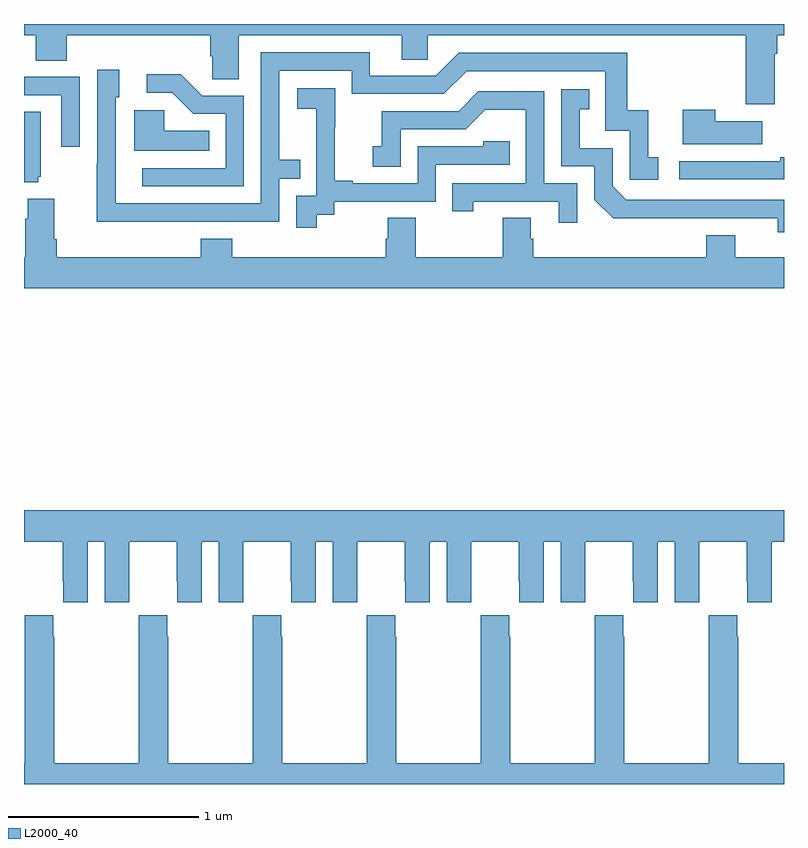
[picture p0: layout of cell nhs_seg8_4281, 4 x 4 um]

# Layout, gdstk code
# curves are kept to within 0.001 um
import gdstk
lib = gdstk.Library(unit=1e-6, precision=1e-09)
def P(c, l, *ps):  # polygons
    for p in ps: c.add(gdstk.Polygon(p, *l))
L2000_40 = (2000, 40)

nhs_seg8_4281 = lib.new_cell('nhs_seg8_4281')
P(nhs_seg8_4281, L2000_40, [(376.951,1109.744),(376.964,1109.744),(376.964,1109.84),(377,1109.84),(377,1109.9),(373,1109.9),(373,1109.84),(373.061,1109.84),(373.061,1109.707),(373.226,1109.707),(373.226,1109.84),(373.979,1109.84),(373.979,1109.731),(373.992,1109.731),(373.992,1109.608),(374.131,1109.608),(374.131,1109.84),(374.987,1109.84),(374.987,1109.713),(375.126,1109.713),(375.126,1109.84),(376.799,1109.84),(376.799,1109.478),(376.951,1109.478)],
  [(373.847,1108.86),(374.343,1108.86),(374.343,1109.085),(374.453,1109.085),(374.453,1109.186),(374.343,1109.186),(374.343,1109.655),(374.724,1109.655),(374.724,1109.532),(375.21,1109.532),(375.33,1109.652),(376.059,1109.652),(376.059,1109.337),(376.188,1109.337),(376.188,1109.079),(376.339,1109.079),(376.339,1109.199),(376.286,1109.199),(376.286,1109.446),(376.175,1109.446),(376.175,1109.748),(375.288,1109.748),(375.168,1109.628),(374.821,1109.628),(374.821,1109.751),(374.247,1109.751),(374.247,1108.956),(373.483,1108.956),(373.482,1109.514),(373.501,1109.514),(373.501,1109.659),(373.386,1109.659),(373.386,1109.165),(373.384,1109.165),(373.384,1108.859)],
  [(374.157,1109.523),(373.938,1109.523),(373.825,1109.636),(373.647,1109.636),(373.647,1109.538),(373.781,1109.538),(373.892,1109.427),(374.061,1109.427),(374.061,1109.142),(373.623,1109.142),(373.623,1109.046),(374.157,1109.046)],
  [(373.293,1109.622),(373,1109.622),(373,1109.526),(373.197,1109.526),(373.197,1109.253),(373.293,1109.253)],
  [(374.542,1108.897),(374.634,1108.897),(374.634,1108.965),(375.168,1108.965),(375.168,1109.16),(375.557,1109.16),(375.557,1109.283),(375.417,1109.283),(375.417,1109.256),(375.072,1109.256),(375.072,1109.061),(374.731,1109.061),(374.731,1109.074),(374.636,1109.074),(374.636,1109.357),(374.637,1109.357),(374.637,1109.563),(374.439,1109.563),(374.439,1109.453),(374.537,1109.453),(374.537,1109.225),(374.538,1109.225),(374.538,1108.995),(374.433,1108.995),(374.433,1108.827),(374.542,1108.827)],
  [(377,1108.974),(376.17,1108.974),(376.098,1109.046),(376.098,1109.247),(375.925,1109.247),(375.925,1109.451),(375.974,1109.451),(375.974,1109.557),(375.828,1109.557),(375.828,1109.151),(376.002,1109.151),(376.002,1108.974),(376.1,1108.877),(376.968,1108.878),(376.968,1108.805),(377,1108.805)],
  [(375.912,1109.061),(375.738,1109.061),(375.738,1109.547),(375.392,1109.547),(375.287,1109.442),(374.884,1109.442),(374.884,1109.257),(374.835,1109.257),(374.835,1109.148),(374.982,1109.148),(374.982,1109.346),(375.324,1109.346),(375.428,1109.45),(375.642,1109.45),(375.642,1109.061),(375.253,1109.061),(375.253,1108.914),(375.364,1108.914),(375.364,1108.965),(375.815,1108.965),(375.815,1108.854),(375.912,1108.854)],
  [(376.885,1109.389),(376.637,1109.389),(376.637,1109.449),(376.466,1109.449),(376.466,1109.267),(376.885,1109.267)],
  [(373.976,1109.338),(373.737,1109.338),(373.737,1109.446),(373.58,1109.446),(373.58,1109.234),(373.976,1109.234)],
  [(373.076,1109.097),(373.087,1109.097),(373.087,1109.437),(373,1109.437),(373,1109.066),(373.076,1109.066)],
  [(377,1109.198),(376.981,1109.198),(376.981,1109.178),(376.449,1109.178),(376.449,1109.082),(377,1109.082)],
  [(377,1108.672),(376.744,1108.672),(376.744,1108.789),(376.592,1108.789),(376.592,1108.672),(375.68,1108.672),(375.68,1108.77),(375.667,1108.77),(375.667,1108.88),(375.52,1108.88),(375.52,1108.672),(375.063,1108.672),(375.063,1108.88),(374.915,1108.88),(374.915,1108.77),(374.903,1108.77),(374.903,1108.672),(374.096,1108.672),(374.096,1108.771),(373.931,1108.771),(373.931,1108.672),(373.172,1108.672),(373.172,1108.768),(373.159,1108.768),(373.159,1108.981),(373.019,1108.981),(373.019,1108.874),(373.007,1108.874),(373.007,1108.672),(373,1108.672),(373,1108.508),(377,1108.508)],
  [(373,1107.176),(373.205,1107.176),(373.205,1106.968),(373.206,1106.968),(373.206,1106.856),(373.336,1106.856),(373.336,1107.176),(373.424,1107.176),(373.424,1106.856),(373.554,1106.856),(373.554,1106.968),(373.555,1106.968),(373.555,1107.176),(373.805,1107.176),(373.805,1106.968),(373.806,1106.968),(373.806,1106.856),(373.936,1106.856),(373.936,1107.176),(374.024,1107.176),(374.024,1106.856),(374.154,1106.856),(374.154,1106.968),(374.155,1106.968),(374.155,1107.176),(374.405,1107.176),(374.405,1106.968),(374.406,1106.968),(374.406,1106.856),(374.536,1106.856),(374.536,1107.176),(374.624,1107.176),(374.624,1106.856),(374.754,1106.856),(374.754,1106.968),(374.755,1106.968),(374.755,1107.176),(375.005,1107.176),(375.005,1106.968),(375.006,1106.968),(375.006,1106.856),(375.136,1106.856),(375.136,1107.176),(375.224,1107.176),(375.224,1106.856),(375.354,1106.856),(375.354,1106.968),(375.355,1106.968),(375.355,1107.176),(375.605,1107.176),(375.605,1106.968),(375.606,1106.968),(375.606,1106.856),(375.736,1106.856),(375.736,1107.176),(375.824,1107.176),(375.824,1106.856),(375.954,1106.856),(375.954,1106.968),(375.955,1106.968),(375.955,1107.176),(376.205,1107.176),(376.205,1106.968),(376.206,1106.968),(376.206,1106.856),(376.336,1106.856),(376.336,1107.176),(376.424,1107.176),(376.424,1106.856),(376.554,1106.856),(376.554,1106.968),(376.555,1106.968),(376.555,1107.176),(376.805,1107.176),(376.805,1106.968),(376.806,1106.968),(376.806,1106.856),(376.936,1106.856),(376.936,1107.176),(377,1107.176),(377,1107.34),(373,1107.34)],
  [(377,1106.008),(376.758,1106.008),(376.758,1106.675),(376.755,1106.675),(376.755,1106.788),(376.605,1106.788),(376.605,1106.675),(376.603,1106.675),(376.603,1106.008),(376.158,1106.008),(376.158,1106.675),(376.155,1106.675),(376.155,1106.788),(376.005,1106.788),(376.005,1106.675),(376.003,1106.675),(376.003,1106.008),(375.558,1106.008),(375.558,1106.675),(375.555,1106.675),(375.555,1106.788),(375.405,1106.788),(375.405,1106.675),(375.403,1106.675),(375.403,1106.008),(374.958,1106.008),(374.958,1106.675),(374.955,1106.675),(374.955,1106.788),(374.805,1106.788),(374.805,1106.675),(374.803,1106.675),(374.803,1106.008),(374.358,1106.008),(374.358,1106.675),(374.355,1106.675),(374.355,1106.788),(374.205,1106.788),(374.205,1106.675),(374.203,1106.675),(374.203,1106.008),(373.758,1106.008),(373.758,1106.675),(373.755,1106.675),(373.755,1106.788),(373.605,1106.788),(373.605,1106.675),(373.603,1106.675),(373.603,1106.008),(373.158,1106.008),(373.158,1106.675),(373.155,1106.675),(373.155,1106.788),(373.005,1106.788),(373.005,1106.675),(373.003,1106.675),(373.003,1106.008),(373,1106.008),(373,1105.9),(377,1105.9)])

lib.write_gds('nhs_seg8_4281.gds')
